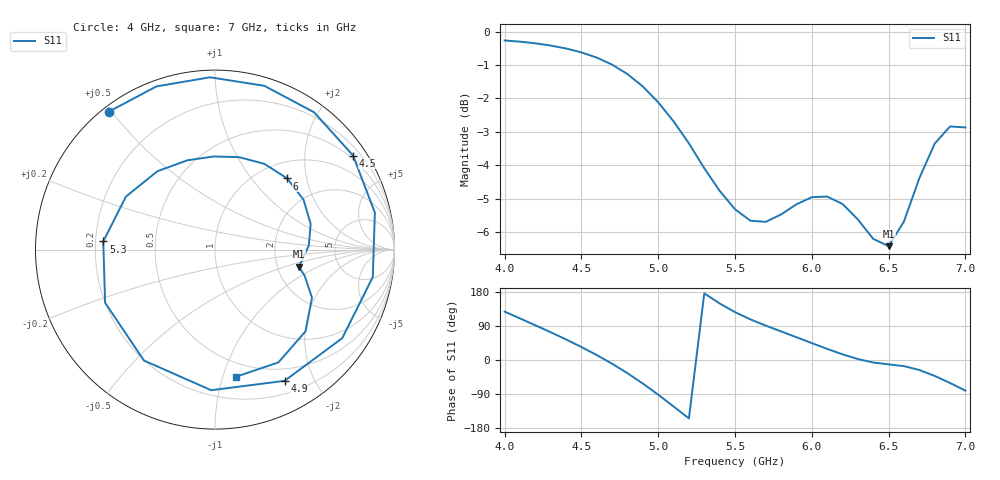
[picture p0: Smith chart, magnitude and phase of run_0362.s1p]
! Touchstone file exported from HFSS 2024.2.0
!  File:  C:/Users/wsak9/Desktop/Sim Fast/Widenad Patch/WP_AI_V1_sweep.aedt
!  Generated:  06:23:49 AM Oct 14, 2026
!  Design:  A1_model
!  Project:  WP_AI_V1_sweep
!  Setup:  Setup1
!  Solution:  Sweep
! Variables:
!  Air_gap = 2.92mm
!  Curve_Amp1 = 2.57
!  Curve_len1 = 1
!  Curve_pos = 9.825mm
!  Extra = 3.48mm
!  H_sub = 0.79mm
!  L_Patch = 15.65mm
!  L_Patch1 = 13.85mm
!  Sx = 4.33mm
!  Sy = 1.5mm
!  WS = 1.48mm
!  W_Patch = 17.51mm
!  W_Patch1 = 10.37mm
!Data is not renormalized
# GHz S MA
! Terminal data exported
! Port[1] = 1
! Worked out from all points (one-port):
!   31 points, 4 GHz to 7 GHz, reference per port
!   lowest |S11| = -6.4 dB at 6.5 GHz (marker M1), VSWR 2.82
!   |S11| at or under -10 dB: nowhere
!   S11 on the Smith chart (normalised r, x): 4 GHz: 0.02, +0.49; 4.5 GHz: 0.41, +3.20; 4.9 GHz: 0.35, -1.61; 5.3 GHz: 0.23, +0.03; 6 GHz: 1.32, +1.54; 7 GHz: 0.38, -1.10
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4  0.97 127.6
4.1  0.966 109.7
4.2  0.9604 91.7
4.3  0.9531 73.3
4.4  0.9435 54.2
4.5  0.9309 34.3
4.6  0.9142 13.0
4.7  0.8923 -9.9
4.8  0.8638 -34.8
4.9  0.8276 -62.1
5  0.7837 -91.5
5.1  0.7339 -122.7
5.2  0.6801 -154.2
5.3  0.6242 175.8
5.4  0.5775 149.2
5.5  0.5419 126.3
5.7  0.5188 90.8
5.9  0.5512 60.1
6  0.565 44.6
6.1  0.5662 29.3
6.2  0.5519 15.0
6.3  0.5231 2.5
6.5  0.4771 -11.6
6.6  0.5195 -16.2
6.7  0.603 -26.4
6.8  0.6795 -42.0
6.9  0.721 -60.7
7  0.7185 -80.8
